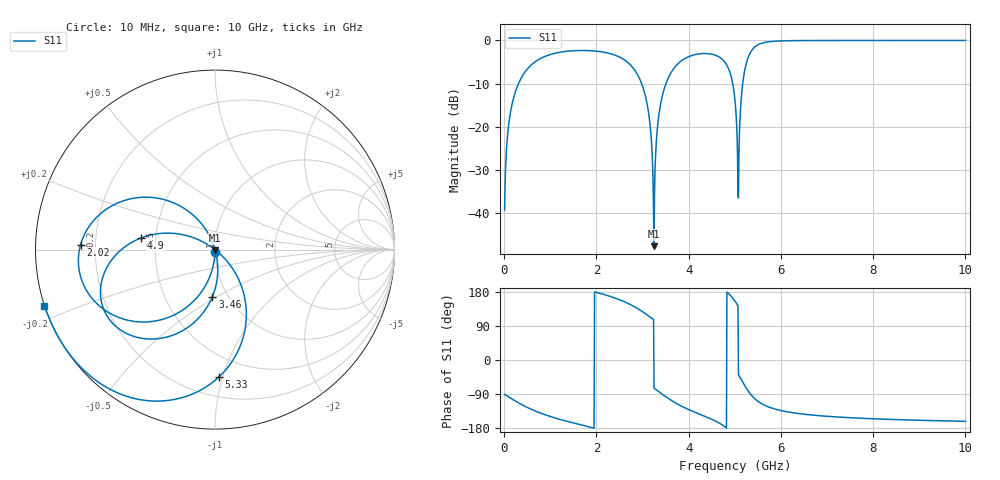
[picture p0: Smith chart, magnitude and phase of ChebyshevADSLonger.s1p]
! Created Thu Dec 17 01:33:42 2020
# ghz S ri R 50
! 1 Port Network Data from SP1.SP block
! freq  reS11  imS11
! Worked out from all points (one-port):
!   1000 points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, 10 MHz to 10 GHz, reference 50 ohm
!   lowest |S11| = -47.7 dB at 3.25 GHz (marker M1), VSWR 1.01, Z = 50.1 - j0.399 ohm
!   |S11| at or under -10 dB: start of sweep to 310.9 MHz; 2.981 GHz to 3.508 GHz (527.5 MHz wide, 16.3 % of centre); 4.956 GHz to 5.172 GHz (216.8 MHz wide, 4.28 % of centre)
!   S11 on the Smith chart (normalised r, x): 10 MHz: 1.00, -0.02; 2.02 GHz: 0.14, +0.02; 3.46 GHz: 0.85, -0.48; 4.9 GHz: 0.41, +0.06; 5.33 GHz: 0.34, -0.97; 10 GHz: 0.00, -0.16
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0.01  -0.000145 -0.0109
0.12  -0.0205 -0.1274
0.31  -0.1227 -0.2906
0.69  -0.4095 -0.4033
1.26  -0.6853 -0.2714
2.02  -0.7489 0.0276
2.51  -0.5943 0.2322
3.03  -0.1515 0.2159
3.14  -0.0583 0.1217
3.21  -0.0156 0.0444
3.25  0.00112 -0.00398
3.28  0.00955 -0.0415
3.35  0.015 -0.1306
3.46  -0.0146 -0.2628
3.76  -0.2357 -0.4771
4.47  -0.6311 -0.2986
4.72  -0.6025 -0.0994
4.9  -0.4141 0.0639
5.01  -0.1702 0.0811
5.04  -0.0911 0.0546
5.09  0.0354 -0.0307
5.19  0.1738 -0.3291
5.33  0.0213 -0.7102
5.7  -0.5118 -0.8106
6.26  -0.7529 -0.6499
7.51  -0.8857 -0.4636
8.76  -0.9288 -0.3706
10  -0.95 -0.3123
